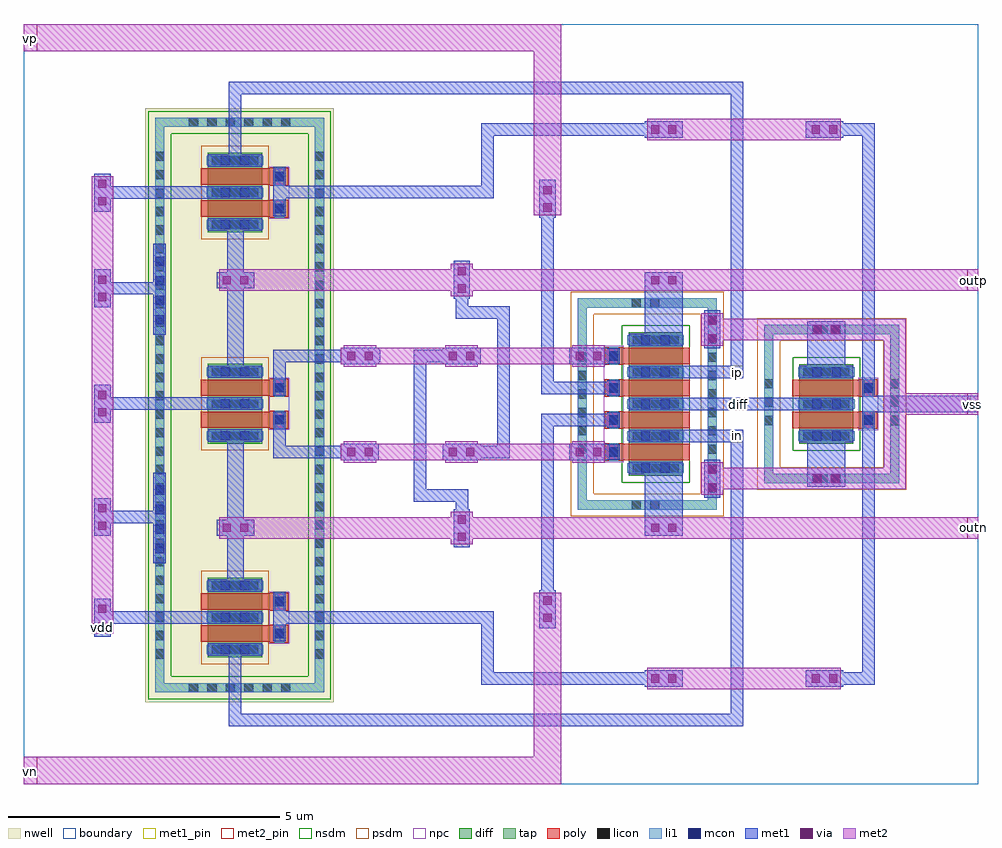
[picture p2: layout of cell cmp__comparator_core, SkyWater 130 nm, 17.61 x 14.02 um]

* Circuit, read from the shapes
.subckt cmp__comparator_core clk diff in ip outn outp vdd vn vp vss
XM1 in outp outn vss sky130_fd_pr__nfet_01v8 w=1 l=0.3
XM2 diff vn in vss sky130_fd_pr__nfet_01v8 w=1 l=0.3
XM3 ip vp diff vss sky130_fd_pr__nfet_01v8 w=1 l=0.3
XM4 outp outn ip vss sky130_fd_pr__nfet_01v8 w=1 l=0.3
XM5 diff clk vss vss sky130_fd_pr__nfet_01v8 w=1 l=0.3 m=2
XM6 vdd clk in vdd sky130_fd_pr__pfet_01v8 w=1 l=0.3
XM7 outn clk vdd vdd sky130_fd_pr__pfet_01v8 w=1 l=0.3
XM8 vdd outp outn vdd sky130_fd_pr__pfet_01v8 w=1 l=0.3
XM9 outp outn vdd vdd sky130_fd_pr__pfet_01v8 w=1 l=0.3
XM10 vdd clk outp vdd sky130_fd_pr__pfet_01v8 w=1 l=0.3
XM11 ip clk vdd vdd sky130_fd_pr__pfet_01v8 w=1 l=0.3
.ends

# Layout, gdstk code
from math import pi, radians
import gdstk
lib = gdstk.Library(unit=1e-6, precision=1e-09)
def R(c, l, rs):  # rectangles x0, y0, x1, y1
    for r in rs: c.add(gdstk.rectangle(r[:2], r[2:], *l))
def A(c, l, x, y, w, h, nx, ny, dx, dy):  # array of equal rectangles
    R(c, l, [(x+i*dx, y+j*dy, x+i*dx+w, y+j*dy+h) for i in range(nx) for j in range(ny)])
nwell = (64, 20)
diff = (65, 20)
tap = (65, 44)
poly = (66, 20)
licon = (66, 44)
li1 = (67, 20)
mcon = (67, 44)
met1_pin = (68, 16)
met1 = (68, 20)
via = (68, 44)
met2_pin = (69, 16)
met2 = (69, 20)
nsdm = (93, 44)
psdm = (94, 20)
npc = (95, 20)
boundary = (235, 4)

cmpc__gr_contact = lib.new_cell('cmpc__gr_contact')
R(cmpc__gr_contact, mcon, [(-1.24,0.03,-1.07,0.2), (-1.24,0.03,-1.07,0.2), (-0.88,0.03,-0.71,0.2), (-0.88,0.03,-0.71,0.2), (-0.88,0.03,-0.71,0.2), (-0.88,0.03,-0.71,0.2), (-0.52,0.03,-0.35,0.2), (-0.52,0.03,-0.35,0.2), (-0.16,0.03,0.01,0.2), (-0.16,0.03,0.01,0.2), (-0.16,0.03,0.01,0.2), (-0.16,0.03,0.01,0.2)])
cmpc__gr_contact.add(gdstk.FlexPath([(-1.36,0.115),(0.085,0.115)], 0.23, ends="extended", simple_path=True, layer=68, datatype=20))  # met1

via_m1_m2_7 = lib.new_cell('via_M1_M2$7')
R(via_m1_m2_7, met1, [(-0.35,0,-0.05,0.7)])
R(via_m1_m2_7, via, [(-0.275,0.115,-0.125,0.265), (-0.275,0.435,-0.125,0.585)])
R(via_m1_m2_7, met2, [(-0.4,0.05,0,0.65)])

cmpc__guardring_p = lib.new_cell('cmpc__Guardring_P')
R(cmpc__guardring_p, tap, [(-1.36,-5.3,-1.19,5.3), (-1.19,-5.3,1.59,-5.13), (1.59,-5.3,1.76,5.3), (-1.19,5.13,1.59,5.3)])
A(cmpc__guardring_p, licon, -0.735, -5.3, 0.17, 0.17, 6, 2, 0.34, 10.43)
A(cmpc__guardring_p, licon, -1.36, -4.675, 0.17, 0.17, 1, 28, 0, 0.34)
A(cmpc__guardring_p, licon, 1.59, -4.675, 0.17, 0.17, 1, 28, 0, 0.34)
R(cmpc__guardring_p, li1, [(-1.36,-5.3,-1.19,5.3), (-1.19,-5.3,1.59,-5.13), (1.59,-5.3,1.76,5.3), (-1.19,5.13,1.59,5.3)])
R(cmpc__guardring_p, nsdm, [(-1.485,-5.425,-1.065,5.425), (-1.065,-5.425,1.465,-5.005), (1.465,-5.425,1.885,5.425), (-1.065,5.005,1.465,5.425)])
R(cmpc__guardring_p, boundary, [(-1.275,-5.215,1.675,5.215)])

cmpc__m1 = lib.new_cell('cmpc__M1')
R(cmpc__m1, nwell, [(-0.62,-0.62,1.19,0.62)])
R(cmpc__m1, diff, [(-0.12,-0.44,0.88,0.44)])
R(cmpc__m1, poly, [(-0.605,-0.165,-0.275,0.165), (-0.275,-0.15,1.01,0.15)])
A(cmpc__m1, licon, -0.045, -0.38, 0.17, 0.17, 3, 2, 0.34, 0.59)
R(cmpc__m1, licon, [(-0.525,-0.085,-0.355,0.085)])
R(cmpc__m1, li1, [(-0.14,-0.38,0.9,-0.21), (-0.525,-0.165,-0.355,0.165), (-0.14,0.21,0.9,0.38)])
R(cmpc__m1, mcon, [(0.115,-0.38,0.285,-0.21), (0.475,-0.38,0.645,-0.21), (-0.525,-0.085,-0.355,0.085), (0.115,0.21,0.285,0.38), (0.475,0.21,0.645,0.38)])
R(cmpc__m1, met1, [(-0.12,-0.41,0.88,-0.18), (-0.555,-0.145,-0.325,0.145), (-0.12,0.18,0.88,0.41)])
R(cmpc__m1, psdm, [(-0.245,-0.565,1.005,0.565)])
R(cmpc__m1, npc, [(-0.625,-0.185,-0.255,0.185)])

cmpc__m2 = lib.new_cell('cmpc__M2')
R(cmpc__m2, nwell, [(-0.62,-0.62,1.19,0.62)])
R(cmpc__m2, diff, [(-0.12,-0.44,0.88,0.44)])
R(cmpc__m2, poly, [(-0.605,-0.165,-0.275,0.165), (-0.275,-0.15,1.01,0.15)])
A(cmpc__m2, licon, -0.045, -0.38, 0.17, 0.17, 3, 2, 0.34, 0.59)
R(cmpc__m2, licon, [(-0.525,-0.085,-0.355,0.085)])
R(cmpc__m2, li1, [(-0.14,-0.38,0.9,-0.21), (-0.525,-0.165,-0.355,0.165), (-0.14,0.21,0.9,0.38)])
R(cmpc__m2, mcon, [(0.115,-0.38,0.285,-0.21), (0.475,-0.38,0.645,-0.21), (-0.525,-0.085,-0.355,0.085), (0.115,0.21,0.285,0.38), (0.475,0.21,0.645,0.38)])
R(cmpc__m2, met1, [(-0.12,-0.41,0.88,-0.18), (-0.555,-0.145,-0.325,0.145), (-0.12,0.18,0.88,0.41)])
R(cmpc__m2, psdm, [(-0.245,-0.565,1.005,0.565)])
R(cmpc__m2, npc, [(-0.625,-0.185,-0.255,0.185)])

cmpc__m4 = lib.new_cell('cmpc__M4')
R(cmpc__m4, nwell, [(-0.62,-0.62,1.19,0.62)])
R(cmpc__m4, diff, [(-0.12,-0.44,0.88,0.44)])
R(cmpc__m4, poly, [(-0.605,-0.165,-0.275,0.165), (-0.275,-0.15,1.01,0.15)])
A(cmpc__m4, licon, -0.045, -0.38, 0.17, 0.17, 3, 2, 0.34, 0.59)
R(cmpc__m4, licon, [(-0.525,-0.085,-0.355,0.085)])
R(cmpc__m4, li1, [(-0.14,-0.38,0.9,-0.21), (-0.525,-0.165,-0.355,0.165), (-0.14,0.21,0.9,0.38)])
R(cmpc__m4, mcon, [(0.115,-0.38,0.285,-0.21), (0.475,-0.38,0.645,-0.21), (-0.525,-0.085,-0.355,0.085), (0.115,0.21,0.285,0.38), (0.475,0.21,0.645,0.38)])
R(cmpc__m4, met1, [(-0.12,-0.41,0.88,-0.18), (-0.555,-0.145,-0.325,0.145), (-0.12,0.18,0.88,0.41)])
R(cmpc__m4, psdm, [(-0.245,-0.565,1.005,0.565)])
R(cmpc__m4, npc, [(-0.625,-0.185,-0.255,0.185)])

cmpc__m3 = lib.new_cell('cmpc__M3')
R(cmpc__m3, nwell, [(-0.62,-0.62,1.19,0.62)])
R(cmpc__m3, diff, [(-0.12,-0.44,0.88,0.44)])
R(cmpc__m3, poly, [(-0.605,-0.165,-0.275,0.165), (-0.275,-0.15,1.01,0.15)])
A(cmpc__m3, licon, -0.045, -0.38, 0.17, 0.17, 3, 2, 0.34, 0.59)
R(cmpc__m3, licon, [(-0.525,-0.085,-0.355,0.085)])
R(cmpc__m3, li1, [(-0.14,-0.38,0.9,-0.21), (-0.525,-0.165,-0.355,0.165), (-0.14,0.21,0.9,0.38)])
R(cmpc__m3, mcon, [(0.115,-0.38,0.285,-0.21), (0.475,-0.38,0.645,-0.21), (-0.525,-0.085,-0.355,0.085), (0.115,0.21,0.285,0.38), (0.475,0.21,0.645,0.38)])
R(cmpc__m3, met1, [(-0.12,-0.41,0.88,-0.18), (-0.555,-0.145,-0.325,0.145), (-0.12,0.18,0.88,0.41)])
R(cmpc__m3, psdm, [(-0.245,-0.565,1.005,0.565)])
R(cmpc__m3, npc, [(-0.625,-0.185,-0.255,0.185)])

cmpc__mdiff = lib.new_cell('cmpc__Mdiff')
R(cmpc__mdiff, diff, [(-0.145,-0.44,0.855,0.44)])
R(cmpc__mdiff, poly, [(-0.585,-0.165,-0.255,0.165), (-0.255,-0.15,0.985,0.15)])
A(cmpc__mdiff, licon, -0.07, -0.38, 0.17, 0.17, 3, 2, 0.34, 0.59)
R(cmpc__mdiff, licon, [(-0.505,-0.085,-0.335,0.085)])
R(cmpc__mdiff, li1, [(-0.165,-0.38,0.875,-0.21), (-0.505,-0.165,-0.335,0.165), (-0.165,0.21,0.875,0.38)])
R(cmpc__mdiff, mcon, [(0.09,-0.38,0.26,-0.21), (0.45,-0.38,0.62,-0.21), (-0.505,-0.085,-0.335,0.085), (0.09,0.21,0.26,0.38), (0.45,0.21,0.62,0.38)])
R(cmpc__mdiff, met1, [(-0.145,-0.41,0.855,-0.18), (-0.535,-0.145,-0.305,0.145), (-0.145,0.18,0.855,0.41)])
R(cmpc__mdiff, nsdm, [(-0.27,-0.565,0.98,0.565)])
R(cmpc__mdiff, npc, [(-0.605,-0.185,-0.235,0.185)])

cmpc__ml2 = lib.new_cell('cmpc__Ml2')
R(cmpc__ml2, diff, [(-0.145,-0.44,0.855,0.44)])
R(cmpc__ml2, poly, [(-0.585,-0.165,-0.255,0.165), (-0.255,-0.15,0.985,0.15)])
A(cmpc__ml2, licon, -0.07, -0.38, 0.17, 0.17, 3, 2, 0.34, 0.59)
R(cmpc__ml2, licon, [(-0.505,-0.085,-0.335,0.085)])
R(cmpc__ml2, li1, [(-0.165,-0.38,0.875,-0.21), (-0.505,-0.165,-0.335,0.165), (-0.165,0.21,0.875,0.38)])
R(cmpc__ml2, mcon, [(0.09,-0.38,0.26,-0.21), (0.45,-0.38,0.62,-0.21), (-0.505,-0.085,-0.335,0.085), (0.09,0.21,0.26,0.38), (0.45,0.21,0.62,0.38)])
R(cmpc__ml2, met1, [(-0.145,-0.41,0.855,-0.18), (-0.535,-0.145,-0.305,0.145), (-0.145,0.18,0.855,0.41)])
R(cmpc__ml2, nsdm, [(-0.27,-0.565,0.98,0.565)])
R(cmpc__ml2, npc, [(-0.605,-0.185,-0.235,0.185)])

cmpc__ml3 = lib.new_cell('cmpc__Ml3')
R(cmpc__ml3, nwell, [(-0.62,-0.62,1.19,0.62)])
R(cmpc__ml3, diff, [(-0.12,-0.44,0.88,0.44)])
R(cmpc__ml3, poly, [(-0.605,-0.165,-0.275,0.165), (-0.275,-0.15,1.01,0.15)])
A(cmpc__ml3, licon, -0.045, -0.38, 0.17, 0.17, 3, 2, 0.34, 0.59)
R(cmpc__ml3, licon, [(-0.525,-0.085,-0.355,0.085)])
R(cmpc__ml3, li1, [(-0.14,-0.38,0.9,-0.21), (-0.525,-0.165,-0.355,0.165), (-0.14,0.21,0.9,0.38)])
R(cmpc__ml3, mcon, [(0.115,-0.38,0.285,-0.21), (0.475,-0.38,0.645,-0.21), (-0.525,-0.085,-0.355,0.085), (0.115,0.21,0.285,0.38), (0.475,0.21,0.645,0.38)])
R(cmpc__ml3, met1, [(-0.12,-0.41,0.88,-0.18), (-0.555,-0.145,-0.325,0.145), (-0.12,0.18,0.88,0.41)])
R(cmpc__ml3, psdm, [(-0.245,-0.565,1.005,0.565)])
R(cmpc__ml3, npc, [(-0.625,-0.185,-0.255,0.185)])

cmpc__minn = lib.new_cell('cmpc__Minn')
R(cmpc__minn, diff, [(-0.145,-0.44,0.855,0.44)])
R(cmpc__minn, poly, [(-0.585,-0.165,-0.255,0.165), (-0.255,-0.15,0.985,0.15)])
A(cmpc__minn, licon, -0.07, -0.38, 0.17, 0.17, 3, 2, 0.34, 0.59)
R(cmpc__minn, licon, [(-0.505,-0.085,-0.335,0.085)])
R(cmpc__minn, li1, [(-0.165,-0.38,0.875,-0.21), (-0.505,-0.165,-0.335,0.165), (-0.165,0.21,0.875,0.38)])
R(cmpc__minn, mcon, [(0.09,-0.38,0.26,-0.21), (0.45,-0.38,0.62,-0.21), (-0.505,-0.085,-0.335,0.085), (0.09,0.21,0.26,0.38), (0.45,0.21,0.62,0.38)])
R(cmpc__minn, met1, [(-0.145,-0.41,0.855,-0.18), (-0.535,-0.145,-0.305,0.145), (-0.145,0.18,0.855,0.41)])
R(cmpc__minn, nsdm, [(-0.27,-0.565,0.98,0.565)])
R(cmpc__minn, npc, [(-0.605,-0.185,-0.235,0.185)])

cmpc__guardring_n_1 = lib.new_cell('cmpc__Guardring_N_1')
A(cmpc__guardring_n_1, licon, -8.18, 41.85, 0.17, 0.17, 1, 3, 0, 0.34)
A(cmpc__guardring_n_1, licon, -5.855, 41.85, 0.17, 0.17, 1, 3, 0, 0.34)
R(cmpc__guardring_n_1, licon, [(-7.18,40.78,-7.01,40.95), (-7.18,43.53,-7.01,43.7)])
cmpc__guardring_n_1.add(gdstk.FlexPath([(-8.095,40.78),(-8.095,43.615),(-5.77,43.615),(-5.77,40.865),(-8.095,40.865)], 0.17, ends="flush", simple_path=True, layer=67, datatype=20))  # li1
cmpc__guardring_n_1.add(gdstk.FlexPath([(-8.095,40.655),(-8.095,43.615),(-5.77,43.615),(-5.77,40.865),(-8.095,40.865)], 0.42, ends="flush", simple_path=True, layer=94, datatype=20))  # psdm
cmpc__guardring_n_1.add(gdstk.FlexPath([(-8.095,40.78),(-8.095,43.615),(-5.77,43.615),(-5.77,40.865),(-8.095,40.865)], 0.17, ends="flush", simple_path=True, layer=65, datatype=44))  # tap

cmpc__guardring_n_2 = lib.new_cell('cmpc__Guardring_N_2')
A(cmpc__guardring_n_2, licon, -11.62, 41.32, 0.17, 0.17, 1, 6, 0, 0.34)
A(cmpc__guardring_n_2, licon, -9.22, 41.32, 0.17, 0.17, 1, 6, 0, 0.34)
R(cmpc__guardring_n_2, licon, [(-10.62,40.29,-10.45,40.46), (-10.28,40.29,-10.11,40.46), (-10.62,44.02,-10.45,44.19), (-10.28,44.02,-10.11,44.19)])
cmpc__guardring_n_2.add(gdstk.FlexPath([(-11.535,40.29),(-11.535,44.105),(-9.135,44.105),(-9.135,40.375),(-11.535,40.375)], 0.17, ends="flush", simple_path=True, layer=67, datatype=20))  # li1
cmpc__guardring_n_2.add(gdstk.FlexPath([(-11.535,40.165),(-11.535,44.105),(-9.135,44.105),(-9.135,40.375),(-11.535,40.375)], 0.42, ends="flush", simple_path=True, layer=94, datatype=20))  # psdm
cmpc__guardring_n_2.add(gdstk.FlexPath([(-11.535,40.29),(-11.535,44.105),(-9.135,44.105),(-9.135,40.375),(-11.535,40.375)], 0.17, ends="flush", simple_path=True, layer=65, datatype=44))  # tap

cmpc__minp = lib.new_cell('cmpc__Minp')
R(cmpc__minp, diff, [(-0.145,-0.44,0.855,0.44)])
R(cmpc__minp, poly, [(-0.585,-0.165,-0.255,0.165), (-0.255,-0.15,0.985,0.15)])
A(cmpc__minp, licon, -0.07, -0.38, 0.17, 0.17, 3, 2, 0.34, 0.59)
R(cmpc__minp, licon, [(-0.505,-0.085,-0.335,0.085)])
R(cmpc__minp, li1, [(-0.165,-0.38,0.875,-0.21), (-0.505,-0.165,-0.335,0.165), (-0.165,0.21,0.875,0.38)])
R(cmpc__minp, mcon, [(0.09,-0.38,0.26,-0.21), (0.45,-0.38,0.62,-0.21), (-0.505,-0.085,-0.335,0.085), (0.09,0.21,0.26,0.38), (0.45,0.21,0.62,0.38)])
R(cmpc__minp, met1, [(-0.145,-0.41,0.855,-0.18), (-0.535,-0.145,-0.305,0.145), (-0.145,0.18,0.855,0.41)])
R(cmpc__minp, nsdm, [(-0.27,-0.565,0.98,0.565)])
R(cmpc__minp, npc, [(-0.605,-0.185,-0.235,0.185)])

cmpc__ml4 = lib.new_cell('cmpc__Ml4')
R(cmpc__ml4, nwell, [(-0.62,-0.62,1.19,0.62)])
R(cmpc__ml4, diff, [(-0.12,-0.44,0.88,0.44)])
R(cmpc__ml4, poly, [(-0.605,-0.165,-0.275,0.165), (-0.275,-0.15,1.01,0.15)])
A(cmpc__ml4, licon, -0.045, -0.38, 0.17, 0.17, 3, 2, 0.34, 0.59)
R(cmpc__ml4, licon, [(-0.525,-0.085,-0.355,0.085)])
R(cmpc__ml4, li1, [(-0.14,-0.38,0.9,-0.21), (-0.525,-0.165,-0.355,0.165), (-0.14,0.21,0.9,0.38)])
R(cmpc__ml4, mcon, [(0.115,-0.38,0.285,-0.21), (0.475,-0.38,0.645,-0.21), (-0.525,-0.085,-0.355,0.085), (0.115,0.21,0.285,0.38), (0.475,0.21,0.645,0.38)])
R(cmpc__ml4, met1, [(-0.12,-0.41,0.88,-0.18), (-0.555,-0.145,-0.325,0.145), (-0.12,0.18,0.88,0.41)])
R(cmpc__ml4, psdm, [(-0.245,-0.565,1.005,0.565)])
R(cmpc__ml4, npc, [(-0.625,-0.185,-0.255,0.185)])

cmpc__ml1 = lib.new_cell('cmpc__Ml1')
R(cmpc__ml1, diff, [(-0.145,-0.44,0.855,0.44)])
R(cmpc__ml1, poly, [(-0.585,-0.165,-0.255,0.165), (-0.255,-0.15,0.985,0.15)])
A(cmpc__ml1, licon, -0.07, -0.38, 0.17, 0.17, 3, 2, 0.34, 0.59)
R(cmpc__ml1, licon, [(-0.505,-0.085,-0.335,0.085)])
R(cmpc__ml1, li1, [(-0.165,-0.38,0.875,-0.21), (-0.505,-0.165,-0.335,0.165), (-0.165,0.21,0.875,0.38)])
R(cmpc__ml1, mcon, [(0.09,-0.38,0.26,-0.21), (0.45,-0.38,0.62,-0.21), (-0.505,-0.085,-0.335,0.085), (0.09,0.21,0.26,0.38), (0.45,0.21,0.62,0.38)])
R(cmpc__ml1, met1, [(-0.145,-0.41,0.855,-0.18), (-0.535,-0.145,-0.305,0.145), (-0.145,0.18,0.855,0.41)])
R(cmpc__ml1, nsdm, [(-0.27,-0.565,0.98,0.565)])
R(cmpc__ml1, npc, [(-0.605,-0.185,-0.235,0.185)])

via_li_m1_2 = lib.new_cell('via_LI_M1$2')
R(via_li_m1_2, li1, [(-0.2,0.03,-0.03,0.56)])
R(via_li_m1_2, mcon, [(-0.2,0.03,-0.03,0.2), (-0.2,0.39,-0.03,0.56)])
R(via_li_m1_2, met1, [(-0.23,0,0,0.59)])

cmp__comparator_core = lib.new_cell('cmp__comparator_core')
R(cmp__comparator_core, nwell, [(-15.165,1.51,-11.685,12.47), (-14.32,2.155,-12.51,11.825)])
A(cmp__comparator_core, met1_pin, -4.36, 6.305, 0.23, 0.23, 1, 3, 0, 0.59)
R(cmp__comparator_core, met1_pin, [(0.05,6.86,0.2,7.16)])
R(cmp__comparator_core, met1, [(-5.95,4.875,-5.25,5.715), (-2.95,5.52,-2.25,6.305), (-2.95,7.715,-2.25,8.5), (-5.95,8.305,-5.25,9.145), (-5.95,8.305,-5.25,9.145)])
A(cmp__comparator_core, met2_pin, 0, 4.525, 0.2, 0.4, 1, 3, 0, 2.285)
R(cmp__comparator_core, met2_pin, [(-17.405,0,-17.155,0.5), (-16.155,2.77,-15.755,2.97), (-17.405,13.52,-17.155,14.02)])
R(cmp__comparator_core, npc, [(-12.875,2.59,-12.505,3.55), (-6.71,5.94,-6.34,8.08), (-2.01,6.53,-1.64,7.49), (-12.875,6.535,-12.505,7.495), (-12.875,10.43,-12.505,11.39)])
R(cmp__comparator_core, boundary, [(-17.405,0,0.2,14.02)])
cmp__comparator_core.add(gdstk.FlexPath([(-5.365,7.6),(-4.245,7.6)], 0.23, ends="extended", simple_path=True, layer=68, datatype=20))  # met1
cmp__comparator_core.add(gdstk.FlexPath([(-5.365,6.42),(-4.245,6.42)], 0.23, ends="extended", simple_path=True, layer=68, datatype=20))  # met1
cmp__comparator_core.add(gdstk.FlexPath([(-10.945,7.895),(-12.69,7.895),(-12.69,7.28)], 0.23, ends="extended", simple_path=True, layer=68, datatype=20))  # met1
cmp__comparator_core.add(gdstk.FlexPath([(-7.745,11.03),(-7.745,7.305)], 0.23, ends="extended", simple_path=True, layer=68, datatype=20))  # met1
cmp__comparator_core.add(gdstk.FlexPath([(-9.325,8.835),(-9.325,8.695),(-8.56,8.695),(-8.56,6.125),(-8.865,6.125)], 0.23, ends="extended", simple_path=True, layer=68, datatype=20))  # met1
cmp__comparator_core.add(gdstk.FlexPath([(-9.325,5.185),(-9.325,5.325),(-10.1,5.325),(-10.1,7.895),(-9.795,7.895)], 0.23, ends="extended", simple_path=True, layer=68, datatype=20))  # met1
cmp__comparator_core.add(gdstk.FlexPath([(-6.525,7.305),(-7.745,7.305)], 0.23, ends="extended", simple_path=True, layer=68, datatype=20))  # met1
cmp__comparator_core.add(gdstk.FlexPath([(-6.525,6.715),(-7.745,6.715)], 0.23, ends="extended", simple_path=True, layer=68, datatype=20))  # met1
cmp__comparator_core.add(gdstk.FlexPath([(-5.365,7.01),(-3.215,7.01)], 0.23, ends="extended", simple_path=True, layer=68, datatype=20))  # met1
cmp__comparator_core.add(gdstk.FlexPath([(-11.21,6.125),(-12.69,6.125),(-12.69,6.75)], 0.23, ends="extended", simple_path=True, layer=68, datatype=20))  # met1
cmp__comparator_core.add(gdstk.FlexPath([(-2.535,12.075),(-1.825,12.075),(-1.825,6.685)], 0.23, ends="extended", simple_path=True, layer=68, datatype=20))  # met1
cmp__comparator_core.add(gdstk.FlexPath([(-12.69,11.275),(-12.69,10.585)], 0.23, ends="extended", simple_path=True, layer=68, datatype=20))  # met1
cmp__comparator_core.add(gdstk.FlexPath([(-2.535,1.945),(-1.825,1.945),(-1.825,7.335)], 0.23, ends="extended", simple_path=True, layer=68, datatype=20))  # met1
cmp__comparator_core.add(gdstk.FlexPath([(-12.69,2.745),(-12.69,3.435)], 0.23, ends="extended", simple_path=True, layer=68, datatype=20))  # met1
cmp__comparator_core.add(gdstk.FlexPath([(-1.825,6.685),(-1.825,7.335)], 0.23, ends="extended", simple_path=True, layer=68, datatype=20))  # met1
cmp__comparator_core.add(gdstk.FlexPath([(-7.745,2.99),(-7.745,6.715)], 0.23, ends="extended", simple_path=True, layer=68, datatype=20))  # met1
cmp__comparator_core.add(gdstk.FlexPath([(-4.245,7.6),(-4.245,12.84)], 0.23, ends="extended", simple_path=True, layer=68, datatype=20))  # met1
cmp__comparator_core.add(gdstk.FlexPath([(-4.245,6.42),(-4.245,1.18)], 0.23, ends="extended", simple_path=True, layer=68, datatype=20))  # met1
cmp__comparator_core.add(gdstk.FlexPath([(-14.9,4.925),(-15.955,4.925)], 0.23, ends="extended", simple_path=True, layer=68, datatype=20))  # met1
cmp__comparator_core.add(gdstk.FlexPath([(-14.9,9.145),(-15.955,9.145)], 0.23, ends="extended", simple_path=True, layer=68, datatype=20))  # met1
cmp__comparator_core.add(gdstk.FlexPath([(-14.125,7.015),(-15.915,7.015)], 0.23, ends="extended", simple_path=True, layer=68, datatype=20))  # met1
cmp__comparator_core.add(gdstk.FlexPath([(-14.125,3.07),(-15.915,3.07)], 0.23, ends="extended", simple_path=True, layer=68, datatype=20))  # met1
cmp__comparator_core.add(gdstk.FlexPath([(-12.69,3.07),(-8.855,3.07),(-8.855,1.945),(-5.38,1.945)], 0.23, ends="extended", simple_path=True, layer=68, datatype=20))  # met1
cmp__comparator_core.add(gdstk.FlexPath([(-12.69,10.92),(-8.855,10.92),(-8.855,12.075),(-5.38,12.075)], 0.23, ends="extended", simple_path=True, layer=68, datatype=20))  # met1
cmp__comparator_core.add(gdstk.FlexPath([(-14.125,10.91),(-15.915,10.91)], 0.23, ends="extended", simple_path=True, layer=68, datatype=20))  # met1
cmp__comparator_core.add(gdstk.FlexPath([(-13.5,10.285),(-13.5,7.64)], 0.3, ends="extended", simple_path=True, layer=68, datatype=20))  # met1
cmp__comparator_core.add(gdstk.FlexPath([(-13.5,3.695),(-13.5,6.39)], 0.3, ends="extended", simple_path=True, layer=68, datatype=20))  # met1
cmp__comparator_core.add(gdstk.FlexPath([(-13.51,11.5),(-13.51,12.84),(-4.36,12.84)], 0.23, ends="extended", simple_path=True, layer=68, datatype=20))  # met1
cmp__comparator_core.add(gdstk.FlexPath([(-13.51,2.48),(-13.51,1.18),(-4.36,1.18)], 0.23, ends="extended", simple_path=True, layer=68, datatype=20))  # met1
cmp__comparator_core.add(gdstk.FlexPath([(-1.79,7.01),(0.05,7.01)], 0.3, ends="extended", simple_path=True, layer=68, datatype=20))  # met1
cmp__comparator_core.add(gdstk.FlexPath([(-7.745,3.275),(-7.745,0.25),(-17.155,0.25)], 0.5, ends="extended", simple_path=True, layer=69, datatype=20))  # met2
cmp__comparator_core.add(gdstk.FlexPath([(-7.745,10.745),(-7.745,13.77),(-17.155,13.77)], 0.5, ends="extended", simple_path=True, layer=69, datatype=20))  # met2
cmp__comparator_core.add(gdstk.FlexPath([(-15.955,11.01),(-15.955,2.97)], 0.4, ends="extended", simple_path=True, layer=69, datatype=20))  # met2
cmp__comparator_core.add(gdstk.FlexPath([(-1.34,7.01),(0,7.01)], 0.4, ends="extended", simple_path=True, layer=69, datatype=20))  # met2
cmp__comparator_core.add(gdstk.FlexPath([(-2.535,12.075),(-5.7,12.075)], 0.4, ends="extended", simple_path=True, layer=69, datatype=20))  # met2
cmp__comparator_core.add(gdstk.FlexPath([(-2.535,1.945),(-5.7,1.945)], 0.4, ends="extended", simple_path=True, layer=69, datatype=20))  # met2
cmp__comparator_core.add(gdstk.FlexPath([(-9.725,9.295),(-13,9.295)], 0.4, ends="extended", simple_path=True, layer=69, datatype=20))  # met2
cmp__comparator_core.add(gdstk.FlexPath([(-11.405,6.125),(-9.78,6.125)], 0.3, ends="extended", simple_path=True, layer=69, datatype=20))  # met2
cmp__comparator_core.add(gdstk.FlexPath([(-11.405,7.895),(-9.78,7.895)], 0.3, ends="extended", simple_path=True, layer=69, datatype=20))  # met2
cmp__comparator_core.add(gdstk.FlexPath([(-9.02,7.895),(-7.395,7.895)], 0.3, ends="extended", simple_path=True, layer=69, datatype=20))  # met2
cmp__comparator_core.add(gdstk.FlexPath([(-9.02,6.125),(-7.14,6.125)], 0.3, ends="extended", simple_path=True, layer=69, datatype=20))  # met2
cmp__comparator_core.add(gdstk.FlexPath([(-9.725,4.725),(-13,4.725)], 0.4, ends="extended", simple_path=True, layer=69, datatype=20))  # met2
cmp__comparator_core.add(gdstk.FlexPath([(0,9.295),(-8.925,9.295)], 0.4, ends="extended", simple_path=True, layer=69, datatype=20))  # met2
cmp__comparator_core.add(gdstk.FlexPath([(-5.76,9.295),(-8.925,9.295)], 0.4, ends="extended", simple_path=True, layer=69, datatype=20))  # met2
cmp__comparator_core.add(gdstk.FlexPath([(0,4.725),(-8.925,4.725)], 0.4, ends="extended", simple_path=True, layer=69, datatype=20))  # met2
cmp__comparator_core.add(gdstk.FlexPath([(-4.705,5.635),(-1.34,5.635)], 0.4, ends="extended", simple_path=True, layer=69, datatype=20))  # met2
cmp__comparator_core.add(gdstk.FlexPath([(-1.34,5.635),(-1.34,8.385)], 0.4, ends="extended", simple_path=True, layer=69, datatype=20))  # met2
cmp__comparator_core.add(gdstk.FlexPath([(-4.705,8.385),(-1.34,8.385)], 0.4, ends="extended", simple_path=True, layer=69, datatype=20))  # met2
cmp__comparator_core.add(gdstk.Reference(cmpc__gr_contact, (-15.015,4.27), rotation=3*pi/2))
cmp__comparator_core.add(gdstk.Reference(via_m1_m2_7, (-15.755,4.575)))
cmp__comparator_core.add(gdstk.Reference(cmpc__gr_contact, (-15.015,8.49), rotation=3*pi/2))
cmp__comparator_core.add(gdstk.Reference(via_m1_m2_7, (-15.755,8.795)))
cmp__comparator_core.add(gdstk.Reference(cmpc__guardring_p, (-13.625,6.99)))
cmp__comparator_core.add(gdstk.Reference(via_m1_m2_7, (-15.755,10.56)))
cmp__comparator_core.add(gdstk.Reference(via_m1_m2_7, (-15.755,2.72)))
cmp__comparator_core.add(gdstk.Reference(via_m1_m2_7, (-4.905,8.735), rotation=pi))
cmp__comparator_core.add(gdstk.Reference(via_m1_m2_7, (-15.755,6.665)))
cmp__comparator_core.add(gdstk.Reference(via_m1_m2_7, (-13.15,9.095), rotation=3*pi/2, x_reflection=True))
cmp__comparator_core.add(gdstk.Reference(via_m1_m2_7, (-13.15,4.925), rotation=pi/2))
cmp__comparator_core.add(gdstk.Reference(cmpc__m1, (-13.13,2.775), rotation=pi, x_reflection=True))
cmp__comparator_core.add(gdstk.Reference(cmpc__m2, (-13.13,3.365), rotation=pi, x_reflection=True))
cmp__comparator_core.add(gdstk.Reference(cmpc__m4, (-13.13,11.205), rotation=pi, x_reflection=True))
cmp__comparator_core.add(gdstk.Reference(cmpc__m3, (-13.13,10.615), rotation=pi, x_reflection=True))
cmp__comparator_core.add(gdstk.Reference(via_m1_m2_7, (-10.855,8.095), rotation=pi/2))
cmp__comparator_core.add(gdstk.Reference(via_m1_m2_7, (-10.855,6.325), rotation=pi/2))
cmp__comparator_core.add(gdstk.Reference(via_m1_m2_7, (-7.34,7.695), rotation=3*pi/2))
cmp__comparator_core.add(gdstk.Reference(via_m1_m2_7, (-7.34,5.925), rotation=3*pi/2))
cmp__comparator_core.add(gdstk.Reference(via_m1_m2_7, (-8.98,8.095), rotation=pi/2))
cmp__comparator_core.add(gdstk.Reference(via_m1_m2_7, (-8.98,6.325), rotation=pi/2))
cmp__comparator_core.add(gdstk.Reference(via_m1_m2_7, (-9.525,5.07), rotation=pi))
cmp__comparator_core.add(gdstk.Reference(via_m1_m2_7, (-9.525,9.65), rotation=pi))
cmp__comparator_core.add(gdstk.Reference(cmpc__mdiff, (-2.245,6.715), rotation=pi, x_reflection=True))
cmp__comparator_core.add(gdstk.Reference(cmpc__ml2, (-6.105,7.895), x_reflection=True))
cmp__comparator_core.add(gdstk.Reference(via_m1_m2_7, (-5.95,4.925), rotation=pi/2, x_reflection=True))
cmp__comparator_core.add(gdstk.Reference(via_m1_m2_7, (-5.95,9.095), rotation=3*pi/2))
cmp__comparator_core.add(gdstk.Reference(cmpc__ml3, (-13.13,6.72), rotation=pi, x_reflection=True))
cmp__comparator_core.add(gdstk.Reference(cmpc__minn, (-6.105,6.715)))
cmp__comparator_core.add(gdstk.Reference(cmpc__guardring_n_1, (4.43,-35.23)))
cmp__comparator_core.add(gdstk.Reference(via_m1_m2_7, (-2.95,5.835), rotation=pi/2, x_reflection=True))
cmp__comparator_core.add(gdstk.Reference(via_m1_m2_7, (-2.95,8.185), rotation=3*pi/2))
cmp__comparator_core.add(gdstk.Reference(via_m1_m2_7, (-4.505,5.985), x_reflection=True))
cmp__comparator_core.add(gdstk.Reference(cmpc__guardring_n_2, (4.43,-35.23)))
cmp__comparator_core.add(gdstk.Reference(cmpc__mdiff, (-2.245,7.305), rotation=pi, x_reflection=True))
cmp__comparator_core.add(gdstk.Reference(cmpc__minp, (-6.105,7.305)))
cmp__comparator_core.add(gdstk.Reference(cmpc__ml4, (-13.13,7.31), rotation=pi, x_reflection=True))
cmp__comparator_core.add(gdstk.Reference(cmpc__ml1, (-6.105,6.125), x_reflection=True))
cmp__comparator_core.add(gdstk.Reference(via_m1_m2_7, (-7.945,2.875), rotation=pi, x_reflection=True))
cmp__comparator_core.add(gdstk.Reference(via_m1_m2_7, (-7.945,11.145), rotation=pi))
cmp__comparator_core.add(gdstk.Reference(via_m1_m2_7, (-2.985,11.875), rotation=3*pi/2))
cmp__comparator_core.add(gdstk.Reference(via_m1_m2_7, (-5.95,11.875), rotation=3*pi/2))
cmp__comparator_core.add(gdstk.Reference(via_m1_m2_7, (-2.985,2.145), rotation=pi/2, x_reflection=True))
cmp__comparator_core.add(gdstk.Reference(via_m1_m2_7, (-5.95,2.145), rotation=pi/2, x_reflection=True))
cmp__comparator_core.add(gdstk.Reference(via_li_m1_2, (-2.305,5.75), rotation=pi/2))
cmp__comparator_core.add(gdstk.Reference(via_li_m1_2, (-2.305,8.5), rotation=pi/2))
cmp__comparator_core.add(gdstk.Reference(via_li_m1_2, (-4.59,8.09)))
cmp__comparator_core.add(gdstk.Reference(via_li_m1_2, (-4.59,5.34)))
cmp__comparator_core.add(gdstk.Label('vn', (-17.28,0.225), layer=69, texttype=16))
cmp__comparator_core.add(gdstk.Label('vp', (-17.28,13.745), layer=69, texttype=16))
cmp__comparator_core.add(gdstk.Label('vdd', (-15.96,2.885), layer=69, texttype=16))
cmp__comparator_core.add(gdstk.Label('vss', (0.1,7.01), layer=69, texttype=16))
cmp__comparator_core.add(gdstk.Label('outp', (0.105,9.295), layer=69, texttype=16))
cmp__comparator_core.add(gdstk.Label('outn', (0.105,4.725), layer=69, texttype=16))
cmp__comparator_core.add(gdstk.Label('clk', (0.125,7.01), layer=68, texttype=16))
cmp__comparator_core.add(gdstk.Label('ip', (-4.245,7.6), layer=68, texttype=16))
cmp__comparator_core.add(gdstk.Label('in', (-4.245,6.42), layer=68, texttype=16))
cmp__comparator_core.add(gdstk.Label('diff', (-4.23,7.01), layer=68, texttype=16))

lib.write_gds('cmp__comparator_core.gds')
